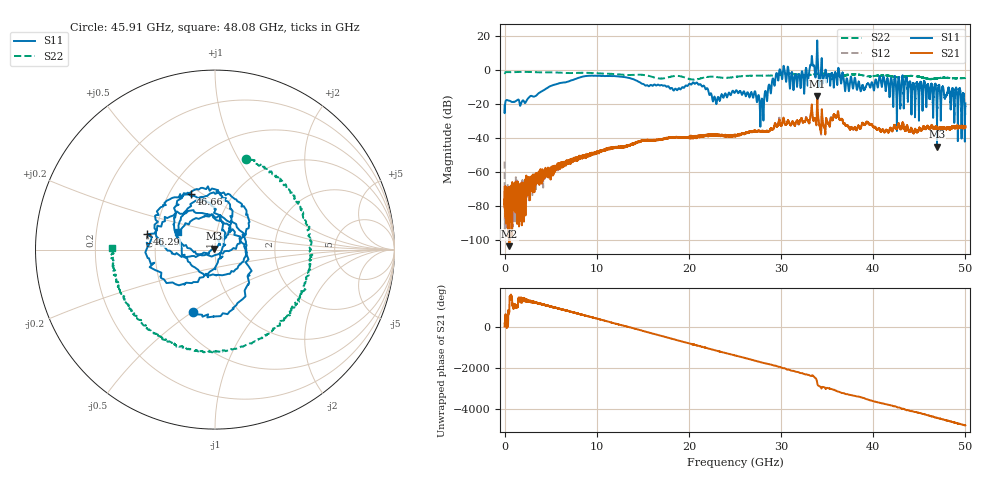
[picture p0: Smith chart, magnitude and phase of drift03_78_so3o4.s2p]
!Created with skrf (http://scikit-rf.org).
# Hz S RI R 50.0
!freq ReS11 ImS11 ReS21 ImS21 ReS12 ImS12 ReS22 ImS22
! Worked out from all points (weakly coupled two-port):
!   10001 points, 300 kHz to 50 GHz, reference 50 ohm
!   highest |S21| = -15.61 dB at 33.92 GHz (marker M1); lowest = -103.9 dB at 520.3 MHz (marker M2)
!   lowest |S11| = -45.4 dB at 46.92 GHz (marker M3), VSWR 1.01, Z = 49.7 + j0.433 ohm
!   |S11| at or under -10 dB: start of sweep to 4.85 GHz; 21.69 GHz to 28.62 GHz (6.935 GHz wide, 27.6 % of centre); 47.56 GHz to end of sweep (the widest 3 of 46)
!   |S22| runs from -5.9 to -1.3 dB; largest |S21 - S12| = 0.02
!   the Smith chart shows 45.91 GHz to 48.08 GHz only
!   S11 on the Smith chart (normalised r, x): 45.91 GHz: 0.63, -0.50; 46.29 GHz: 0.45, +0.09; 46.66 GHz: 0.64, +0.44; 48.08 GHz: 0.65, +0.14
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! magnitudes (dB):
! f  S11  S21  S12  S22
! 300 kHz  -21.3  -69.1  -54.1  -2.0
! 255.3 MHz  -17.9  -77.9  -77.7  -1.4
! 520.3 MHz  -18.3  -103.9  -85.6  -1.5
! 8.335 GHz  -4.3  -51.3  -51.5  -1.9
! 16.67 GHz  -8.8  -41.4  -41.5  -5.2
! 21.01 GHz  -8.7  -39.4  -39.1  -5.5
! 22.81 GHz  -16.1  -38.2  -38.5  -4.2
! 25 GHz  -13.4  -39.0  -38.9  -4.3
! 27.02 GHz  -15.7  -36.5  -36.3  -3.5
! 27.92 GHz  -17.1  -36.6  -36.3  -3.5
! 29.69 GHz  -6.4  -32.0  -31.5  -3.1
! 32.32 GHz  -1.5  -30.5  -30.6  -3.3
! 33.34 GHz  8.1  -20.5  -20.8  -2.9
! 33.92 GHz  17.2  -15.6  -15.9  -2.5
! 38.82 GHz  -9.2  -31.3  -31.8  -3.3
! 41.67 GHz  -9.1  -36.7  -36.9  -3.6
! 45.91 GHz  -8.7  -33.4  -33.2  -5.5
! 46.29 GHz  -8.3  -33.7  -33.5  -5.5
! 46.66 GHz  -9.5  -34.4  -35.0  -5.6
! 46.92 GHz  -45.4  -34.7  -34.6  -5.1
! 48.08 GHz  -12.8  -34.9  -34.5  -4.9
! 50 GHz  -19.9  -33.2  -34.1  -4.9
